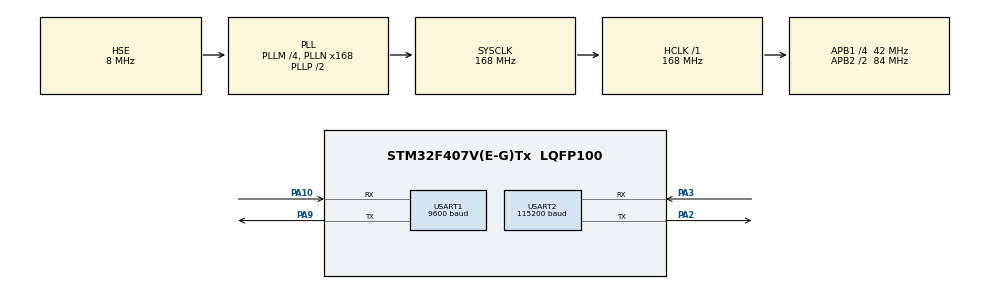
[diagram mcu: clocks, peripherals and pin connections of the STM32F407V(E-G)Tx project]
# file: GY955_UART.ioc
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Mcu.Family=STM32F4
Mcu.Name=STM32F407V(E-G)Tx
Mcu.Package=LQFP100
NVIC.PriorityGroup=NVIC_PRIORITYGROUP_4
NVIC.USART1_IRQn=true\:0\:0\:false\:false\:true\:true\:true
PA10.Mode=Asynchronous
PA10.Signal=USART1_RX
PA13.Mode=Serial_Wire
PA13.Signal=SYS_JTMS-SWDIO
PA14.Mode=Serial_Wire
PA14.Signal=SYS_JTCK-SWCLK
PA2.Mode=Asynchronous
PA2.Signal=USART2_TX
PA3.Mode=Asynchronous
PA3.Signal=USART2_RX
PA9.Mode=Asynchronous
PA9.Signal=USART1_TX
PH0-OSC_IN.Mode=HSE-External-Oscillator
PH0-OSC_IN.Signal=RCC_OSC_IN
PH1-OSC_OUT.Mode=HSE-External-Oscillator
PH1-OSC_OUT.Signal=RCC_OSC_OUT
ProjectManager.HeapSize=0x200
ProjectManager.StackSize=0x400
ProjectManager.TargetToolchain=MDK-ARM V5.27
RCC.48MHZClocksFreq_Value=84000000
RCC.AHBFreq_Value=168000000
RCC.APB1CLKDivider=RCC_HCLK_DIV4
RCC.APB1Freq_Value=42000000
RCC.APB1TimFreq_Value=84000000
RCC.APB2CLKDivider=RCC_HCLK_DIV2
RCC.APB2Freq_Value=84000000
RCC.APB2TimFreq_Value=168000000
RCC.CortexFreq_Value=168000000
RCC.HCLKFreq_Value=168000000
RCC.HSE_VALUE=8000000
RCC.HSI_VALUE=16000000
RCC.LSE_VALUE=32768
RCC.PLLM=4
RCC.PLLN=168
RCC.PLLSourceVirtual=RCC_PLLSOURCE_HSE
RCC.SYSCLKFreq_VALUE=168000000
RCC.SYSCLKSource=RCC_SYSCLKSOURCE_PLLCLK
RCC.VCOOutputFreq_Value=336000000
USART1.BaudRate=9600
USART1.VirtualMode=VM_ASYNC
USART2.BaudRate=115200
USART2.VirtualMode=VM_ASYNC
board=custom

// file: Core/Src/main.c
/* USER CODE BEGIN Header */
/**
  ******************************************************************************
  * @file           : main.c
  * @brief          : Main program body
  ******************************************************************************
  * @attention
  *
  * <h2><center>&copy; Copyright (c) 2021 STMicroelectronics.
  * All rights reserved.</center></h2>
  *
  * This software component is licensed by ST under BSD 3-Clause license,
  * the "License"; You may not use this file except in compliance with the
  * License. You may obtain a copy of the License at:
  *                        opensource.org/licenses/BSD-3-Clause
  *
  ******************************************************************************
  */
/* USER CODE END Header */
#include "main.h"
#include "usart.h"
#include "gpio.h"

/* USER CODE BEGIN Includes */
#include "stdio.h"
/* USER CODE END Includes */

/* USER CODE BEGIN PTD */
uint8_t recv[12];
uint8_t RxFlag = 0;
/* USER CODE END PTD */

void SystemClock_Config(void);

int main(void)
{

  /* MCU Configuration--------------------------------------------------------*/

  /* Reset of all peripherals, Initializes the Flash interface and the Systick. */
  HAL_Init();

  /* Configure the system clock */
  SystemClock_Config();

  /* Initialize all configured peripherals */
  MX_GPIO_Init();
  MX_USART1_UART_Init();
  MX_USART2_UART_Init();
  /* USER CODE BEGIN 2 */
  HAL_UART_Receive_IT(&huart1,(uint8_t *)recv,12);
  /* USER CODE END 2 */

  /* Infinite loop */
  while (1)
  {

    /* USER CODE BEGIN 3 */
	   if(RxFlag == 1)
		 {
			 if((recv[2] & 0x04) == 0x04 )
			 {
				 uint16_t Yaw = (recv[4] << 8) | recv[5];
				 uint16_t Roll = (recv[6] << 8) | recv[7];
				 uint16_t Pitch = (recv[8] << 8) | recv[9];
				 RxFlag = 0;
				 printf("Yaw = %3d   ", Yaw/100);
				 printf("Roll = %3d   ", Roll/100);
				 printf("Pitch = %3d\r\n", Pitch/100);
			 }
		 }
		HAL_Delay(100);
  }
  /* USER CODE END 3 */
}

void SystemClock_Config(void)
{
  RCC_OscInitTypeDef RCC_OscInitStruct = {0};
  RCC_ClkInitTypeDef RCC_ClkInitStruct = {0};

  /** Configure the main internal regulator output voltage
  */
  __HAL_RCC_PWR_CLK_ENABLE();
  __HAL_PWR_VOLTAGESCALING_CONFIG(PWR_REGULATOR_VOLTAGE_SCALE1);
  /** Initializes the RCC Oscillators according to the specified parameters
  * in the RCC_OscInitTypeDef structure.
  */
  RCC_OscInitStruct.OscillatorType = RCC_OSCILLATORTYPE_HSE;
  RCC_OscInitStruct.HSEState = RCC_HSE_ON;
  RCC_OscInitStruct.PLL.PLLState = RCC_PLL_ON;
  RCC_OscInitStruct.PLL.PLLSource = RCC_PLLSOURCE_HSE;
  RCC_OscInitStruct.PLL.PLLM = 4;
  RCC_OscInitStruct.PLL.PLLN = 168;
  RCC_OscInitStruct.PLL.PLLP = RCC_PLLP_DIV2;
  RCC_OscInitStruct.PLL.PLLQ = 4;
  if (HAL_RCC_OscConfig(&RCC_OscInitStruct) != HAL_OK)
  {
    Error_Handler();
  }
  /** Initializes the CPU, AHB and APB buses clocks
  */
  RCC_ClkInitStruct.ClockType = RCC_CLOCKTYPE_HCLK|RCC_CLOCKTYPE_SYSCLK
                              |RCC_CLOCKTYPE_PCLK1|RCC_CLOCKTYPE_PCLK2;
  RCC_ClkInitStruct.SYSCLKSource = RCC_SYSCLKSOURCE_PLLCLK;
  RCC_ClkInitStruct.AHBCLKDivider = RCC_SYSCLK_DIV1;
  RCC_ClkInitStruct.APB1CLKDivider = RCC_HCLK_DIV4;
  RCC_ClkInitStruct.APB2CLKDivider = RCC_HCLK_DIV2;

  if (HAL_RCC_ClockConfig(&RCC_ClkInitStruct, FLASH_LATENCY_5) != HAL_OK)
  {
    Error_Handler();
  }
}

/* USER CODE BEGIN 4 */
int fputc(int ch, FILE *f)
{
	HAL_UART_Transmit(&huart2,(uint8_t *)&ch,1,HAL_MAX_DELAY);
	return ch;
}
void HAL_UART_RxCpltCallback(UART_HandleTypeDef *huart)
{
    if(huart->Instance == USART1)
    {
        RxFlag = 1;
        HAL_UART_Receive_IT(&huart1,(uint8_t *)recv, 12);
    }
}
/* USER CODE END 4 */

void Error_Handler(void)
{
  __disable_irq();
  while (1)
  {
  }
}

/************************ (C) COPYRIGHT STMicroelectronics *****END OF FILE****/
